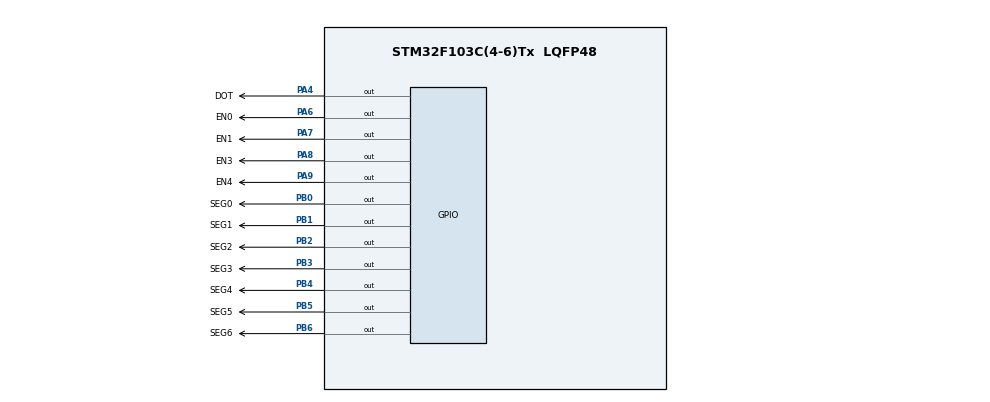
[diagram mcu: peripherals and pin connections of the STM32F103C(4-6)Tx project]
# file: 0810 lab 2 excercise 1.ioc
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Mcu.Family=STM32F1
Mcu.Name=STM32F103C(4-6)Tx
Mcu.Package=LQFP48
NVIC.PriorityGroup=NVIC_PRIORITYGROUP_4
NVIC.TIM2_IRQn=true\:0\:0\:false\:false\:true\:true\:true
PA4.GPIO_Label=DOT
PA4.Signal=GPIO_Output
PA6.GPIO_Label=EN0
PA6.Signal=GPIO_Output
PA7.GPIO_Label=EN1
PA7.Signal=GPIO_Output
PA8.GPIO_Label=EN3
PA8.Signal=GPIO_Output
PA9.GPIO_Label=EN4
PA9.Signal=GPIO_Output
PB0.GPIO_Label=SEG0
PB0.Signal=GPIO_Output
PB1.GPIO_Label=SEG1
PB1.Signal=GPIO_Output
PB2.GPIO_Label=SEG2
PB2.Signal=GPIO_Output
PB3.GPIO_Label=SEG3
PB3.Signal=GPIO_Output
PB4.GPIO_Label=SEG4
PB4.Signal=GPIO_Output
PB5.GPIO_Label=SEG5
PB5.Signal=GPIO_Output
PB6.GPIO_Label=SEG6
PB6.Signal=GPIO_Output
ProjectManager.HeapSize=0x200
ProjectManager.StackSize=0x400
ProjectManager.TargetToolchain=STM32CubeIDE
RCC.APB1Freq_Value=8000000
RCC.APB2Freq_Value=8000000
TIM2.Period=9
TIM2.Prescaler=7999
VP_SYS_VS_ND.Mode=No_Debug
VP_TIM2_VS_ClockSourceINT.Mode=Internal
board=custom

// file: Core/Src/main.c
/* USER CODE BEGIN Header */
// Trinh Tien Long, Student Login.
// MICROPROCESSORS-MICROCONTROLLERS (LAB) (CO3010) _ Mr. Nguyen
// Date: 30/10/2022
// Lab 2
/* USER CODE END Header */
#include "main.h"

/* USER CODE BEGIN Includes */
#include "led7.h"
#include "timerforled.h"
/* USER CODE END Includes */

TIM_HandleTypeDef htim2;

void SystemClock_Config(void);
static void MX_TIM2_Init(void);
static void MX_GPIO_Init(void);

int main(void)
{

  /* MCU Configuration--------------------------------------------------------*/

  /* Reset of all peripherals, Initializes the Flash interface and the Systick. */
  HAL_Init();

  /* Configure the system clock */
  SystemClock_Config();

  /* Initialize all configured peripherals */
  MX_TIM2_Init();
  MX_GPIO_Init();
  /* USER CODE BEGIN 2 */
  HAL_TIM_Base_Start_IT(&htim2);
  //initial state
  HAL_GPIO_WritePin(GPIOA, GPIO_PIN_6, 1);//EN0 Off
  HAL_GPIO_WritePin(GPIOA, GPIO_PIN_7, 1);//EN1 Off
  int32_t ledOrder=0;//led 1 or led 2?
  int32_t realFlag=0;//get flag's state in main
  #define NUMBER_OF_LED 2
  /* USER CODE END 2 */

  /* Infinite loop */
  /* USER CODE BEGIN WHILE */
  setTimer1(50);//500ms
  while (1)
  {
	  realFlag=getFlag();
	  while(realFlag==1)
	  {
		switch (ledOrder)
		{
		case 0:
		realFlag=0;
		setTimer1(50);
		//TODO
		HAL_GPIO_WritePin(GPIOA, GPIO_PIN_7, 1);//EN1 Off
		display7SEG(1);
		HAL_GPIO_WritePin(GPIOA, GPIO_PIN_6, 0);//EN0 On
		ledOrder=(ledOrder+1)%NUMBER_OF_LED;//switch to another led
			break;
		case 1:
		realFlag=0;
		setTimer1(50);
		//TODO
		HAL_GPIO_WritePin(GPIOA, GPIO_PIN_6, 1);//EN0 Off
		display7SEG(2);
		HAL_GPIO_WritePin(GPIOA, GPIO_PIN_7, 0);//EN1 On
		ledOrder=(ledOrder+1)%NUMBER_OF_LED;
			break;
		default:
			break;
		}
	  }

    /* USER CODE END WHILE */

  }
}

void SystemClock_Config(void)
{
  RCC_OscInitTypeDef RCC_OscInitStruct = {0};
  RCC_ClkInitTypeDef RCC_ClkInitStruct = {0};

  /** Initializes the RCC Oscillators according to the specified parameters
  * in the RCC_OscInitTypeDef structure.
  */
  RCC_OscInitStruct.OscillatorType = RCC_OSCILLATORTYPE_HSI;
  RCC_OscInitStruct.HSIState = RCC_HSI_ON;
  RCC_OscInitStruct.HSICalibrationValue = RCC_HSICALIBRATION_DEFAULT;
  RCC_OscInitStruct.PLL.PLLState = RCC_PLL_NONE;
  if (HAL_RCC_OscConfig(&RCC_OscInitStruct) != HAL_OK)
  {
    Error_Handler();
  }
  /** Initializes the CPU, AHB and APB buses clocks
  */
  RCC_ClkInitStruct.ClockType = RCC_CLOCKTYPE_HCLK|RCC_CLOCKTYPE_SYSCLK
                              |RCC_CLOCKTYPE_PCLK1|RCC_CLOCKTYPE_PCLK2;
  RCC_ClkInitStruct.SYSCLKSource = RCC_SYSCLKSOURCE_HSI;
  RCC_ClkInitStruct.AHBCLKDivider = RCC_SYSCLK_DIV1;
  RCC_ClkInitStruct.APB1CLKDivider = RCC_HCLK_DIV1;
  RCC_ClkInitStruct.APB2CLKDivider = RCC_HCLK_DIV1;

  if (HAL_RCC_ClockConfig(&RCC_ClkInitStruct, FLASH_LATENCY_0) != HAL_OK)
  {
    Error_Handler();
  }
}

static void MX_TIM2_Init(void)
{

  TIM_ClockConfigTypeDef sClockSourceConfig = {0};
  TIM_MasterConfigTypeDef sMasterConfig = {0};

  htim2.Instance = TIM2;
  htim2.Init.Prescaler = 7999;
  htim2.Init.CounterMode = TIM_COUNTERMODE_UP;
  htim2.Init.Period = 9;
  htim2.Init.ClockDivision = TIM_CLOCKDIVISION_DIV1;
  htim2.Init.AutoReloadPreload = TIM_AUTORELOAD_PRELOAD_DISABLE;
  if (HAL_TIM_Base_Init(&htim2) != HAL_OK)
  {
    Error_Handler();
  }
  sClockSourceConfig.ClockSource = TIM_CLOCKSOURCE_INTERNAL;
  if (HAL_TIM_ConfigClockSource(&htim2, &sClockSourceConfig) != HAL_OK)
  {
    Error_Handler();
  }
  sMasterConfig.MasterOutputTrigger = TIM_TRGO_RESET;
  sMasterConfig.MasterSlaveMode = TIM_MASTERSLAVEMODE_DISABLE;
  if (HAL_TIMEx_MasterConfigSynchronization(&htim2, &sMasterConfig) != HAL_OK)
  {
    Error_Handler();
  }

}

static void MX_GPIO_Init(void)
{
  GPIO_InitTypeDef GPIO_InitStruct = {0};

  /* GPIO Ports Clock Enable */
  __HAL_RCC_GPIOA_CLK_ENABLE();
  __HAL_RCC_GPIOB_CLK_ENABLE();

  /*Configure GPIO pin Output Level */
  HAL_GPIO_WritePin(GPIOA, DOT_Pin|EN0_Pin|EN1_Pin|EN3_Pin
                          |EN4_Pin, GPIO_PIN_RESET);

  /*Configure GPIO pin Output Level */
  HAL_GPIO_WritePin(GPIOB, SEG0_Pin|SEG1_Pin|SEG2_Pin|SEG3_Pin
                          |SEG4_Pin|SEG5_Pin|SEG6_Pin, GPIO_PIN_RESET);

  /*Configure GPIO pins : DOT_Pin EN0_Pin EN1_Pin EN3_Pin
                           EN4_Pin */
  GPIO_InitStruct.Pin = DOT_Pin|EN0_Pin|EN1_Pin|EN3_Pin
                          |EN4_Pin;
  GPIO_InitStruct.Mode = GPIO_MODE_OUTPUT_PP;
  GPIO_InitStruct.Pull = GPIO_NOPULL;
  GPIO_InitStruct.Speed = GPIO_SPEED_FREQ_LOW;
  HAL_GPIO_Init(GPIOA, &GPIO_InitStruct);

  /*Configure GPIO pins : SEG0_Pin SEG1_Pin SEG2_Pin SEG3_Pin
                           SEG4_Pin SEG5_Pin SEG6_Pin */
  GPIO_InitStruct.Pin = SEG0_Pin|SEG1_Pin|SEG2_Pin|SEG3_Pin
                          |SEG4_Pin|SEG5_Pin|SEG6_Pin;
  GPIO_InitStruct.Mode = GPIO_MODE_OUTPUT_PP;
  GPIO_InitStruct.Pull = GPIO_NOPULL;
  GPIO_InitStruct.Speed = GPIO_SPEED_FREQ_LOW;
  HAL_GPIO_Init(GPIOB, &GPIO_InitStruct);

}

/* USER CODE BEGIN 4 */
//timer run
void HAL_TIM_PeriodElapsedCallback(TIM_HandleTypeDef *htim2)
{
	timerRun();
}
/* USER CODE END 4 */

void Error_Handler(void)
{
  __disable_irq();
  while (1)
  {
  }
}

/************************ (C) COPYRIGHT STMicroelectronics *****END OF FILE****/
